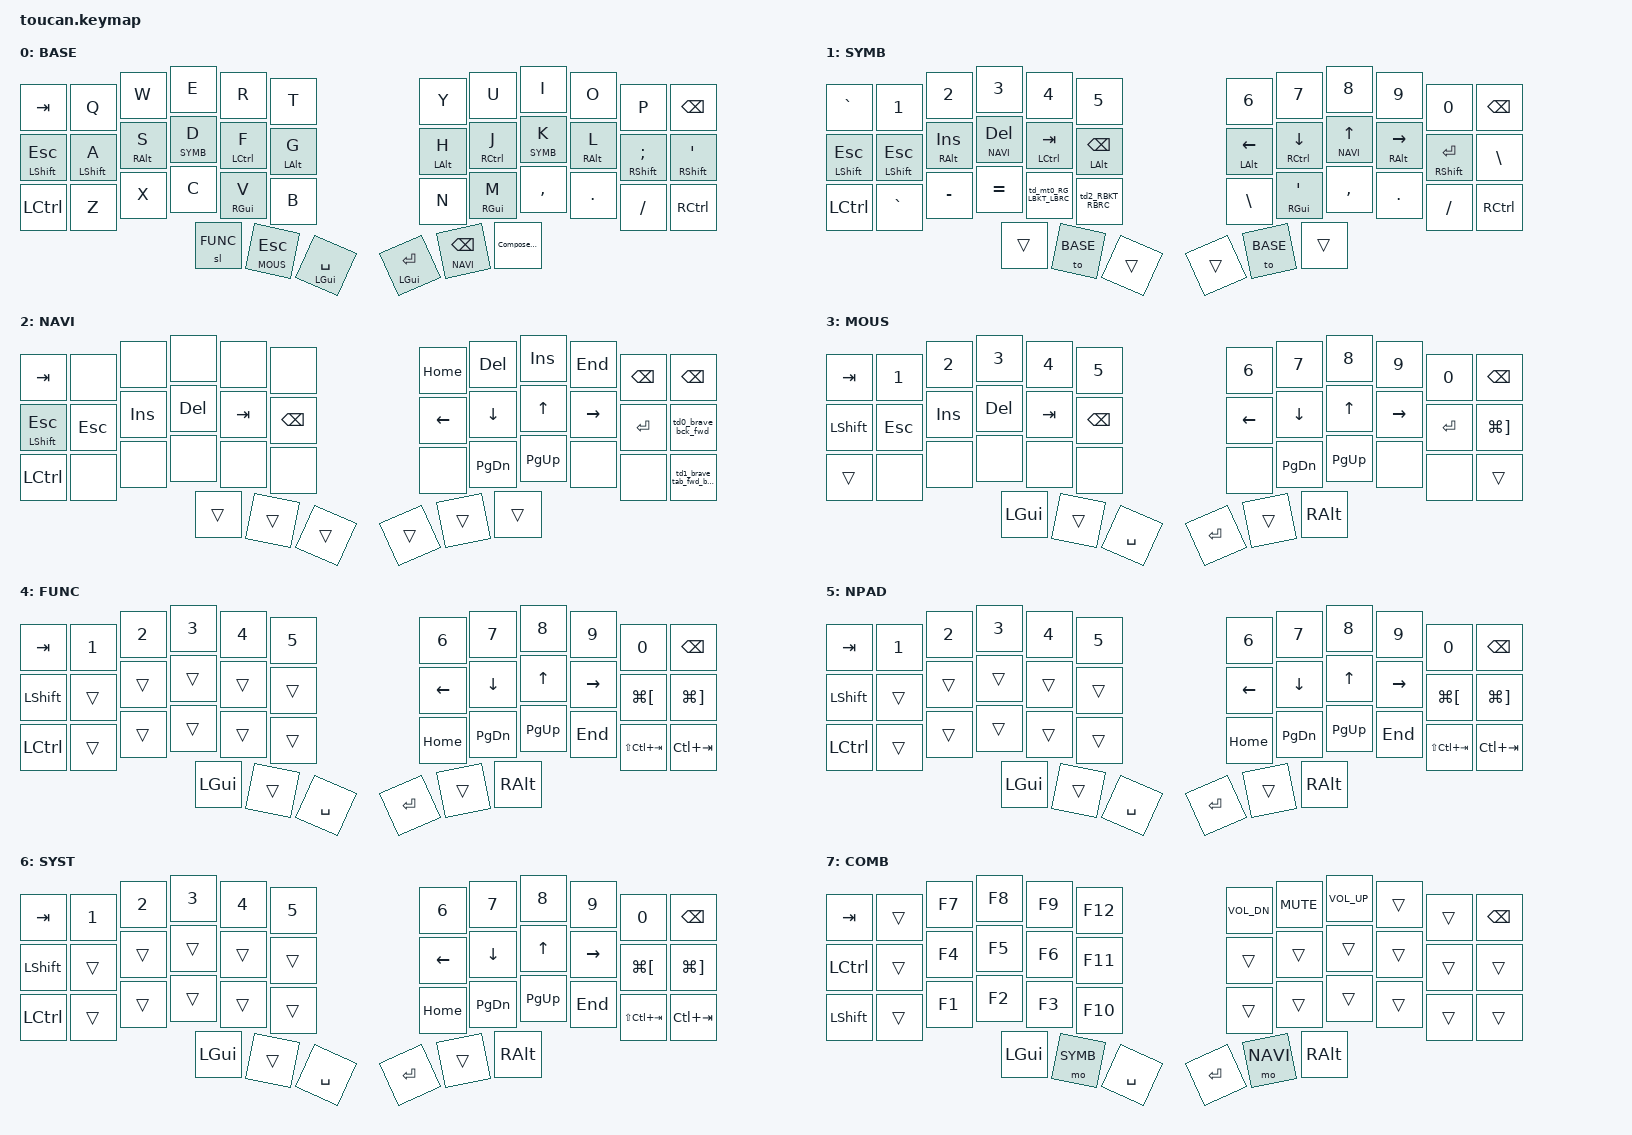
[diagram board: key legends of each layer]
#include <behaviors.dtsi>
#include <dt-bindings/zmk/keys.h>
#include <dt-bindings/zmk/bt.h>
#include <dt-bindings/zmk/outputs.h>

// To override the default movement or scrolling max velocities 
#define ZMK_POINTING_DEFAULT_MOVE_VAL 800  // default: 600
#define ZMK_POINTING_DEFAULT_SCRL_VAL 20    // default: 10
#include <dt-bindings/zmk/pointing.h>

// Autoshift Macro
#define AS(keycode) &as LS(keycode) keycode     
// Macro to apply momentary-layer-on-hold/toggle-layer-on-tap to a specific layer
#define MO_TOG(layer) &mo_tog layer layer   

#define KEYS_L 0 1 2 3 4 5  12 13 14 15 16 17  24 25 26 27 28 29  36 37 38 // left hand
#define KEYS_R 6 7 8 9 10 11  18 19 20 21 22 23  30 31 32 33 34 35  39 40 41 // right hand
#define BASE   0
#define SYMB   1
#define NAVI   2
#define MOUS   3
#define FUNC   4
#define NPAD   5
#define SYST   6
// #define COMB   7

// https://v0-3-branch.zmk.dev/docs/keymaps/behaviors/mod-morph#mods
// https://v0-3-branch.zmk.dev/docs/keymaps/modifiers
// LS(x), LC(x), LA(x), LG(x), RS(x), RC(x), RA(x), RG(x)

/ {
    // https://v0-3-branch.zmk.dev/docs/keymaps/behaviors#layer-navigation-behaviors
    behaviors {

        hml: hml {
            compatible = "zmk,behavior-hold-tap";
            #binding-cells = <2>;
            flavor = "balanced";
            require-prior-idle-ms = <150>;
            tapping-term-ms = <280>;
            quick-tap-ms = <175>;
            bindings = <&kp>, <&kp>;
            hold-trigger-key-positions = <KEYS_R>; // List of keys on the right side of the keyboard
            hold-trigger-on-release;
        };
        hmr: hmr {
            compatible = "zmk,behavior-hold-tap";
            #binding-cells = <2>;
            flavor = "balanced";
            require-prior-idle-ms = <150>;
            tapping-term-ms = <280>;
            quick-tap-ms = <175>;
            bindings = <&kp>, <&kp>;
            hold-trigger-key-positions = <KEYS_L>; // List of keys on the left side of the keyboard
            hold-trigger-on-release;
        };
        hml2: hml2 {
            compatible = "zmk,behavior-hold-tap";
            #binding-cells = <2>;
            flavor = "balanced";
            require-prior-idle-ms = <150>;
            tapping-term-ms = <280>;
            quick-tap-ms = <175>;
            bindings = <&mo>, <&kp>;
            hold-trigger-key-positions = <KEYS_R>;
            hold-trigger-on-release;
        };
        hmr2: hmr2 {
            compatible = "zmk,behavior-hold-tap";
            #binding-cells = <2>;
            flavor = "balanced";
            require-prior-idle-ms = <150>;
            tapping-term-ms = <500>;
            quick-tap-ms = <175>;
            bindings = <&mo>, <&kp>;
            hold-trigger-key-positions = <KEYS_L>;
            hold-trigger-on-release;
        };

        Compose1ToNpad: Compose1ToNpad {
            compatible = "zmk,behavior-tap-dance";
            label = "Compose1ToNpad";
            #binding-cells = <0>;
            bindings = <&kp K_APP>, <&tog NAVI>;
            tapping-term-ms = <230>;
        };
        
        // https://v0-3-branch.zmk.dev/docs/keymaps/behaviors/hold-tap?examples=mlt#require-prior-idle-ms
        rpi: require_prior_idle {
            compatible = "zmk,behavior-hold-tap";
            #binding-cells = <2>;
            flavor = "tap-preferred";
            tapping-term-ms = <200>;
            quick-tap-ms = <200>;
            require-prior-idle-ms = <125>;
            bindings = <&kp>, <&kp>;
        };

        // https://v0-3-branch.zmk.dev/docs/keymaps/behaviors/hold-tap?examples=home_row_mods#positional-hold-tap-and-hold-trigger-key-positions
        pht: positional_hold_tap {
            compatible = "zmk,behavior-hold-tap";
            #binding-cells = <2>;
            flavor = "hold-preferred";
            tapping-term-ms = <400>;
            quick-tap-ms = <200>;
            bindings = <&kp>, <&kp>;
            hold-trigger-key-positions = <1>;    // <---[[the Q key]]
        };

        // Flavors: "hold-preferred", "balanced", "tap-preferred" and "tap-unless-interrupted"
        my_mt: my_mt {
            compatible = "zmk,behavior-hold-tap";
            #binding-cells = <2>;
            flavor = "tap-preferred";
            tapping-term-ms = <200>;
            bindings = <&kp>, <&kp>;
            display-name = "Mod-Tap";
        };
        my_lt: my_lt {
            compatible = "zmk,behavior-hold-tap";
            #binding-cells = <2>;
            flavor = "tap-preferred";
            tapping-term-ms = <200>;
            bindings = <&mo>, <&kp>;
            display-name = "Layer-Tap";
        };

        as: auto_shift {
            compatible = "zmk,behavior-hold-tap";
            #binding-cells = <2>;
            tapping-term-ms = <135>;
            quick-tap-ms = <0>;
            flavor = "tap-preferred";
            bindings = <&kp>, <&kp>;
        };
        // Autoshift applied for QWERTY keys
        // AS(Q) AS(W) AS(E) AS(R) AS(T) AS(Y) 

        mo_tog: behavior_mo_tog {
            compatible = "zmk,behavior-hold-tap";
            #binding-cells = <2>;
            flavor = "hold-preferred";
            tapping-term-ms = <200>;
            bindings = <&mo>, <&tog>;
        };
        // &mo_tog 2 1     // &mo 2 on hold, &tog 1 on tap
        // MO_TOG(3)       // &mo 3 on hold, &tog 3 on tap
        // &mo_tog 4 3     // &mo 4 on hold, &tog 3 on tap

        // https://v0-3-branch.zmk.dev/docs/keymaps/behaviors/tap-dance?examples=advanced#summary
        td0: td0_brave_bck_fwd {
            compatible = "zmk,behavior-tap-dance";
            #binding-cells = <0>;
            tapping-term-ms = <200>;
            bindings = <&kp LG(LBKT)>, <&kp RG(RBKT)>;
        };

        td1: td1_brave_tab_fwd_bck {
            compatible = "zmk,behavior-tap-dance";
            #binding-cells = <0>;
            tapping-term-ms = <200>;
            bindings = <&kp LS(LC(TAB))>, <&kp LC(TAB)>;
        };
        // Outputs RBKT ] on a single tab, RBRC } when the tap-dance is pressed twice.
        td2: td2_RBKT_RBRC {
            compatible = "zmk,behavior-tap-dance";
            #binding-cells = <0>;
            tapping-term-ms = <200>;
            bindings = <&kp RBKT>, <&kp RBRC>;
        };

        // https://v0-3-branch.zmk.dev/docs/keymaps/behaviors/tap-dance?examples=advanced#example-usage
        // Outputs LBKT [ on a single tap, RG on a single press and hold, and LBRC { when the tap-dance is pressed twice. 
        td_mt0: td_mt0_RG_LBKT_LBRC {
            compatible = "zmk,behavior-tap-dance";
            #binding-cells = <0>;
            tapping-term-ms = <200>;
            bindings = <&mt RGUI LBKT>, <&kp LBRC>;
        };
        
        // https://v0-3-branch.zmk.dev/docs/keymaps/behaviors/mod-morph#advanced-configuration
        bspc_del: backspace_delete {
            compatible = "zmk,behavior-mod-morph";
            #binding-cells = <0>;
            bindings = <&kp BACKSPACE>, <&kp DELETE>;
            mods = <(MOD_LSFT|MOD_RSFT)>;
            keep-mods = <(MOD_RSFT)>;
        };

        // https://v0-3-branch.zmk.dev/docs/keymaps/behaviors/layers#configuration
        kt_on: key_toggle_on_only {
            compatible = "zmk,behavior-key-toggle";
            #binding-cells = <1>;
            display-name = "Key Toggle On";
            toggle-mode = "on";
        };

        kt_off: key_toggle_off_only {
            compatible = "zmk,behavior-key-toggle";
            #binding-cells = <1>;
            display-name = "Key Toggle Off";
            toggle-mode = "off";
        };

        tl_on: toggle_layer_on_only {
            compatible = "zmk,behavior-toggle-layer";
            #binding-cells = <1>;
            display-name = "Toggle Layer On";
            toggle-mode = "on";
        };

        tl_off: toggle_layer_off_only {
            compatible = "zmk,behavior-toggle-layer";
            #binding-cells = <1>;
            display-name = "Toggle Layer Off";
            toggle-mode = "off";
        };

        // https://v0-3-branch.zmk.dev/docs/keymaps/behaviors/sticky-layer
        // https://v0-3-branch.zmk.dev/docs/keymaps/behaviors/sticky-key
        skq: skq {
            compatible = "zmk,behavior-sticky-key";
            #binding-cells = <1>;
            bindings = <&kp>;
            release-after-ms = <1000>;
            quick-release;
            ignore-modifiers;
        };

        // https://v0-3-branch.zmk.dev/docs/keymaps/behaviors/mouse-emulation
        // Mouse Button Press &mkp
        // MB1, LCLK	Left click
        // MB2, RCLK	Right click
        // MB3, MCLK	Middle click
        // MB4	        Mouse button 4
        // MB5	        Mouse button 5
        // Mouse Move &mmv
        // MOVE_UP	    Move up
        // MOVE_DOWN	Move down
        // MOVE_LEFT	Move left
        // MOVE_RIGHT	Move right
        // Mouse Scroll &msc
        // SCRL_UP	    Scroll up
        // SCRL_DOWN	Scroll down
        // SCRL_LEFT	Scroll left
        // SCRL_RIGHT	Scroll right

        // &mkp_input_listener {
        //    input-processors = <&zip_temp_layer 2 2000>;
        // }
        // &mmv_input_listener {
        //     input-processors = <&zip_temp_layer 2 2000>;
        // }
        // &msc_input_listener {
        //    input-processors = <&zip_temp_layer 2 2000>;
        // }

        // Windows specific 
        // hrm_w: hrm_w {
        //     compatible = "zmk,behavior-hold-tap";
        //     #binding-cells = <2>;
        //     tapping-term-ms = <200>;
        //     bindings = <&kp>, <&kp>;
        //     flavor = "tap-preferred";
        //     quick-tap-ms = <200>;
        //     require-prior-idle-ms = <0>;
        //     retro-tap;
        // };

        // my_mtw: my_mtw {
        //     compatible = "zmk,behavior-hold-tap";
        //     #binding-cells = <2>;
        //     flavor = "tap-preferred";
        //     tapping-term-ms = <200>;
        //     bindings = <&kp>, <&kp>;
        // };
    };
    
    combos {
        compatible = "zmk,combos";
        // https://v0-3-branch.zmk.dev/docs/keymaps/combos
        combo_esc {
            timeout-ms = <50>;
            key-positions = <1 2>;
            // layers = <0 1...> 
            bindings = <&kp ESC>;
            // slow-release 
            // require-prior-idle-ms 
        };

        combo_caps1 {
            timeout-ms = <100>;
            key-positions = <36 41>; // Combo `fn + compose`
            bindings = <&kp CAPS>;
        };

        combo_caps2 {
            timeout-ms = <100>;
            key-positions = <12 23>; // Combo `left-shift+right-shift`
            bindings = <&kp CAPS>;
        };

        combo_symbol {
            timeout-ms = <100>;
            key-positions = <37 40>; // Combo `thumb ESC + thumb Backspace`
            bindings = <&tog SYMB>;
        };

        combo_sys_left {
            timeout-ms = <100>;
            key-positions = <28 38>; // Combo `v+space`
            bindings = <&mo SYST>;
        };

        combo_sys_right {
            timeout-ms = <100>;
            key-positions = <31 39>; // Combo `m+enter`
            bindings = <&mo SYST>;
        };
    };
};

/ {
    keymap {
        compatible = "zmk,keymap";

        base {
            display-name = "BASE";
            bindings = <
//    ┌───────────────┬─────────────┬─────────────┬──────────────┬─────────────┬─────────────────┐                                   ┌─────────────────┬─────────────────┬──────────────┬─────────────┬─────────────┬─────────────┐
//    │      tab      │      Q      │      W      │      E       │      R      │        T        │                                   │        Y        │        U        │      I       │      O      │      P      │    bspc     │
//    ├───────────────┼─────────────┼─────────────┼──────────────┼─────────────┼─────────────────┤                                   ├─────────────────┼─────────────────┼──────────────┼─────────────┼─────────────┼─────────────┤
//    │ &hml lsft esc │ &hml lsft A │ &hml ralt S │ &hml2 SYMB D │ &hml lctl F │   &hml lalt G   │                                   │   &hmr lalt H   │   &hmr rctl J   │ &hmr2 SYMB K │ &hmr ralt L │ &hmr rsft ; │ &hmr rsft ' │
//    ├───────────────┼─────────────┼─────────────┼──────────────┼─────────────┼─────────────────┤                                   ├─────────────────┼─────────────────┼──────────────┼─────────────┼─────────────┼─────────────┤
//    │     lctl      │      Z      │      X      │      C       │ &hml rgui V │        B        │                                   │        N        │   &hmr rgui M   │      ,       │      .      │      /      │    rctl     │
//    └───────────────┴─────────────┴─────────────┴──────────────┼─────────────┼─────────────────┼───────────────┐   ┌───────────────┼─────────────────┼─────────────────┼──────────────┴─────────────┴─────────────┴─────────────┘
//                                                               │   sl FUNC   │ &my_lt MOUS esc │ &hml lgui spc │   │ &hmr lgui ent │ &hmr2 NAVI bspc │ &Compose1ToNpad │
//                                                               └─────────────┴─────────────────┴───────────────┘   └───────────────┴─────────────────┴─────────────────┘
  &kp TAB          &kp Q          &kp W         &kp E          &kp R          &kp T                                                   &kp Y             &kp U             &kp I          &kp O         &kp P             &kp BSPC
  &hml LSHFT ESC   &hml LSHFT A   &hml RALT S   &hml2 SYMB D   &hml LCTRL F   &hml LALT G                                             &hmr LALT H       &hmr RCTRL J      &hmr2 SYMB K   &hmr RALT L   &hmr RSHFT SEMI   &hmr RSHFT SQT
  &kp LCTRL        &kp Z          &kp X         &kp C          &hml RGUI V    &kp B                                                   &kp N             &hmr RGUI M       &kp COMMA      &kp DOT       &kp FSLH          &kp RCTRL
                                                               &sl FUNC       &my_lt MOUS ESC   &hml LGUI SPACE       &hmr LGUI RET   &hmr2 NAVI BSPC   &Compose1ToNpad
            >;
        };

        symb {
            display-name = "SYMB";
            bindings = <
//    ┌───────────────┬───────────────┬───────────────┬────────────────┬──────────────────┬────────────────┐               ┌────────────────┬────────────────┬───────────────┬────────────────┬───────────────┬──────┐
//    │       `       │       1       │       2       │       3        │        4         │       5        │               │       6        │       7        │       8       │       9        │       0       │ bspc │
//    ├───────────────┼───────────────┼───────────────┼────────────────┼──────────────────┼────────────────┤               ├────────────────┼────────────────┼───────────────┼────────────────┼───────────────┼──────┤
//    │ &hml lsft esc │ &hml lsft esc │ &hml ralt ins │ &hml2 NAVI del │  &hml lctl tab   │ &hml lalt bspc │               │ &hmr lalt left │ &hmr rctl down │ &hmr2 NAVI up │ &hmr ralt rght │ &hmr rsft ent │  \   │
//    ├───────────────┼───────────────┼───────────────┼────────────────┼──────────────────┼────────────────┤               ├────────────────┼────────────────┼───────────────┼────────────────┼───────────────┼──────┤
//    │     lctl      │       `       │       -       │       =        │ &td_mt0_rgui_[_{ │    &td2_]_}    │               │       \        │  &hmr rgui '   │       ,       │       .        │       /       │ rctl │
//    └───────────────┴───────────────┴───────────────┴────────────────┼──────────────────┼────────────────┼─────┐   ┌─────┼────────────────┼────────────────┼───────────────┴────────────────┴───────────────┴──────┘
//                                                                     │                  │    to BASE     │     │   │     │    to BASE     │                │
//                                                                     └──────────────────┴────────────────┴─────┘   └─────┴────────────────┴────────────────┘
  &kp GRAVE        &kp N1           &kp N2          &kp N3           &kp N4                 &kp N5                                 &kp N6           &kp N7            &kp N8          &kp N9            &kp N0           &kp BSPC
  &hml LSHFT ESC   &hml LSHFT ESC   &hml RALT INS   &hml2 NAVI DEL   &hml LCTRL TAB         &hml LALT BSPC                         &hmr LALT LEFT   &hmr RCTRL DOWN   &hmr2 NAVI UP   &hmr RALT RIGHT   &hmr RSHFT RET   &kp BSLH
  &kp LCTRL        &kp GRAVE        &kp MINUS       &kp EQUAL        &td_mt0_RG_LBKT_LBRC   &td2_RBKT_RBRC                         &kp BSLH         &hmr RGUI SQT     &kp COMMA       &kp PERIOD        &kp FSLH         &kp RCTRL
                                                                     &trans                 &to BASE         &trans       &trans   &to BASE         &trans
            >;
        };

        navi {
            display-name = "NAVI";
            bindings = <
//    ┌───────────────┬─────┬─────┬─────┬─────┬──────┐               ┌──────┬──────┬──────┬──────┬──────┬────────────────────────┐
//    │      tab      │     │     │     │     │      │               │ home │ del  │ ins  │ end  │ bspc │          bspc          │
//    ├───────────────┼─────┼─────┼─────┼─────┼──────┤               ├──────┼──────┼──────┼──────┼──────┼────────────────────────┤
//    │ &hml lsft esc │ esc │ ins │ del │ tab │ bspc │               │ left │ down │  up  │ rght │ ent  │   &td0_brave_bck_fwd   │
//    ├───────────────┼─────┼─────┼─────┼─────┼──────┤               ├──────┼──────┼──────┼──────┼──────┼────────────────────────┤
//    │     lctl      │     │     │     │     │      │               │      │ pgdn │ pgup │      │      │ &td1_brave_tab_fwd_bck │
//    └───────────────┴─────┴─────┴─────┼─────┼──────┼─────┐   ┌─────┼──────┼──────┼──────┴──────┴──────┴────────────────────────┘
//                                      │     │      │     │   │     │      │      │
//                                      └─────┴──────┴─────┘   └─────┴──────┴──────┘
  &kp TAB          &none     &none     &none     &none     &none                            &kp HOME   &kp DEL     &kp INS     &kp END     &kp BSPC   &kp BSPC
  &hml LSHFT ESC   &kp ESC   &kp INS   &kp DEL   &kp TAB   &kp BSPC                         &kp LEFT   &kp DOWN    &kp UP      &kp RIGHT   &kp RET    &td0_brave_bck_fwd
  &kp LCTRL        &none     &none     &none     &none     &none                            &none      &kp PG_DN   &kp PG_UP   &none       &none      &td1_brave_tab_fwd_bck
                                                 &trans    &trans     &trans       &trans   &trans     &trans
            >;
        };

        mous {
            display-name = "MOUS";
            bindings = <
//    ┌──────┬─────┬─────┬─────┬──────┬──────┐               ┌──────┬──────┬──────┬──────┬─────┬─────────┐
//    │ tab  │  1  │  2  │  3  │  4   │  5   │               │  6   │  7   │  8   │  9   │  0  │  bspc   │
//    ├──────┼─────┼─────┼─────┼──────┼──────┤               ├──────┼──────┼──────┼──────┼─────┼─────────┤
//    │ lsft │ esc │ ins │ del │ tab  │ bspc │               │ left │ down │  up  │ rght │ ent │ lgui(]) │
//    ├──────┼─────┼─────┼─────┼──────┼──────┤               ├──────┼──────┼──────┼──────┼─────┼─────────┤
//    │      │     │     │     │      │      │               │      │ pgdn │ pgup │      │     │         │
//    └──────┴─────┴─────┴─────┼──────┼──────┼─────┐   ┌─────┼──────┼──────┼──────┴──────┴─────┴─────────┘
//                             │ lgui │      │ spc │   │ ent │      │ ralt │
//                             └──────┴──────┴─────┘   └─────┴──────┴──────┘
  &kp TAB     &kp N1       &kp N2    &kp N3    &kp N4     &kp N5                                    &kp N6     &kp N7          &kp N8      &kp N9      &kp N0      &kp BSPC
  &kp LSHFT   &kp ESCAPE   &kp INS   &kp DEL   &kp TAB    &kp BACKSPACE                             &kp LEFT   &kp DOWN        &kp UP      &kp RIGHT   &kp ENTER   &kp LG(RBKT)
  &trans      &none        &none     &none     &none      &none                                     &none      &kp PAGE_DOWN   &kp PG_UP   &none       &none       &trans
                                               &kp LGUI   &trans          &kp SPACE       &kp RET   &trans     &kp RALT
            >;
        };

        func {
            display-name = "FUNC";
            bindings = <
//    ┌──────┬─────┬─────┬─────┬──────┬─────┐               ┌──────┬──────┬──────┬──────┬─────────────────┬───────────┐
//    │ tab  │  1  │  2  │  3  │  4   │  5  │               │  6   │  7   │  8   │  9   │        0        │   bspc    │
//    ├──────┼─────┼─────┼─────┼──────┼─────┤               ├──────┼──────┼──────┼──────┼─────────────────┼───────────┤
//    │ lsft │     │     │     │      │     │               │ left │ down │  up  │ rght │     lgui([)     │  lgui(])  │
//    ├──────┼─────┼─────┼─────┼──────┼─────┤               ├──────┼──────┼──────┼──────┼─────────────────┼───────────┤
//    │ lctl │     │     │     │      │     │               │ home │ pgdn │ pgup │ end  │ lsft(lctl(tab)) │ lctl(tab) │
//    └──────┴─────┴─────┴─────┼──────┼─────┼─────┐   ┌─────┼──────┼──────┼──────┴──────┴─────────────────┴───────────┘
//                             │ lgui │     │ spc │   │ ent │      │ ralt │
//                             └──────┴─────┴─────┘   └─────┴──────┴──────┘
  &kp TAB     &kp N1   &kp N2   &kp N3   &kp N4     &kp N5                             &kp N6     &kp N7      &kp N8      &kp N9      &kp N0            &kp BSPC
  &kp LSHFT   &trans   &trans   &trans   &trans     &trans                             &kp LEFT   &kp DOWN    &kp UP      &kp RIGHT   &kp LG(LBKT)      &kp LG(RBKT)
  &kp LCTRL   &trans   &trans   &trans   &trans     &trans                             &kp HOME   &kp PG_DN   &kp PG_UP   &kp END     &kp LS(LC(TAB))   &kp LC(TAB)
                                         &kp LGUI   &trans   &kp SPACE       &kp RET   &trans     &kp RALT
            >;
        };

        npad {
            display-name = "NPAD";
            bindings = <
//    ┌──────┬─────┬─────┬─────┬──────┬─────┐               ┌──────┬──────┬──────┬──────┬─────────────────┬───────────┐
//    │ tab  │  1  │  2  │  3  │  4   │  5  │               │  6   │  7   │  8   │  9   │        0        │   bspc    │
//    ├──────┼─────┼─────┼─────┼──────┼─────┤               ├──────┼──────┼──────┼──────┼─────────────────┼───────────┤
//    │ lsft │     │     │     │      │     │               │ left │ down │  up  │ rght │     lgui([)     │  lgui(])  │
//    ├──────┼─────┼─────┼─────┼──────┼─────┤               ├──────┼──────┼──────┼──────┼─────────────────┼───────────┤
//    │ lctl │     │     │     │      │     │               │ home │ pgdn │ pgup │ end  │ lsft(lctl(tab)) │ lctl(tab) │
//    └──────┴─────┴─────┴─────┼──────┼─────┼─────┐   ┌─────┼──────┼──────┼──────┴──────┴─────────────────┴───────────┘
//                             │ lgui │     │ spc │   │ ent │      │ ralt │
//                             └──────┴─────┴─────┘   └─────┴──────┴──────┘
  &kp TAB     &kp N1   &kp N2   &kp N3   &kp N4     &kp N5                             &kp N6     &kp N7      &kp N8      &kp N9      &kp N0            &kp BSPC
  &kp LSHFT   &trans   &trans   &trans   &trans     &trans                             &kp LEFT   &kp DOWN    &kp UP      &kp RIGHT   &kp LG(LBKT)      &kp LG(RBKT)
  &kp LCTRL   &trans   &trans   &trans   &trans     &trans                             &kp HOME   &kp PG_DN   &kp PG_UP   &kp END     &kp LS(LC(TAB))   &kp LC(TAB)
                                         &kp LGUI   &trans   &kp SPACE       &kp RET   &trans     &kp RALT
            >;
        };

        syst {
            display-name = "SYST";
            bindings = <
//    ┌──────┬─────┬─────┬─────┬──────┬─────┐               ┌──────┬──────┬──────┬──────┬─────────────────┬───────────┐
//    │ tab  │  1  │  2  │  3  │  4   │  5  │               │  6   │  7   │  8   │  9   │        0        │   bspc    │
//    ├──────┼─────┼─────┼─────┼──────┼─────┤               ├──────┼──────┼──────┼──────┼─────────────────┼───────────┤
//    │ lsft │     │     │     │      │     │               │ left │ down │  up  │ rght │     lgui([)     │  lgui(])  │
//    ├──────┼─────┼─────┼─────┼──────┼─────┤               ├──────┼──────┼──────┼──────┼─────────────────┼───────────┤
//    │ lctl │     │     │     │      │     │               │ home │ pgdn │ pgup │ end  │ lsft(lctl(tab)) │ lctl(tab) │
//    └──────┴─────┴─────┴─────┼──────┼─────┼─────┐   ┌─────┼──────┼──────┼──────┴──────┴─────────────────┴───────────┘
//                             │ lgui │     │ spc │   │ ent │      │ ralt │
//                             └──────┴─────┴─────┘   └─────┴──────┴──────┘
  &kp TAB     &kp N1   &kp N2   &kp N3   &kp N4     &kp N5                             &kp N6     &kp N7      &kp N8      &kp N9      &kp N0            &kp BSPC
  &kp LSHFT   &trans   &trans   &trans   &trans     &trans                             &kp LEFT   &kp DOWN    &kp UP      &kp RIGHT   &kp LG(LBKT)      &kp LG(RBKT)
  &kp LCTRL   &trans   &trans   &trans   &trans     &trans                             &kp HOME   &kp PG_DN   &kp PG_UP   &kp END     &kp LS(LC(TAB))   &kp LC(TAB)
                                         &kp LGUI   &trans   &kp SPACE       &kp RET   &trans     &kp RALT
            >;
        };

        comb {
            display-name = "COMB";
            bindings = <
//    ┌──────┬─────┬────┬────┬──────┬─────────┐               ┌─────────┬──────┬──────┬─────┬─────┬──────┐
//    │ tab  │     │ f7 │ f8 │  f9  │   f12   │               │  vold   │ mute │ volu │     │     │ bspc │
//    ├──────┼─────┼────┼────┼──────┼─────────┤               ├─────────┼──────┼──────┼─────┼─────┼──────┤
//    │ lctl │     │ f4 │ f5 │  f6  │   f11   │               │         │      │      │     │     │      │
//    ├──────┼─────┼────┼────┼──────┼─────────┤               ├─────────┼──────┼──────┼─────┼─────┼──────┤
//    │ lsft │     │ f1 │ f2 │  f3  │   f10   │               │         │      │      │     │     │      │
//    └──────┴─────┴────┴────┼──────┼─────────┼─────┐   ┌─────┼─────────┼──────┼──────┴─────┴─────┴──────┘
//                           │ lgui │ mo SYMB │ spc │   │ ent │ mo NAVI │ ralt │
//                           └──────┴─────────┴─────┘   └─────┴─────────┴──────┘
  &kp TAB     &trans   &kp F7   &kp F8   &kp F9     &kp F12                              &kp C_VOL_DN   &kp C_MUTE   &kp C_VOL_UP   &trans   &trans   &kp BSPC
  &kp LCTRL   &trans   &kp F4   &kp F5   &kp F6     &kp F11                              &trans         &trans       &trans         &trans   &trans   &trans
  &kp LSHFT   &trans   &kp F1   &kp F2   &kp F3     &kp F10                              &trans         &trans       &trans         &trans   &trans   &trans
                                         &kp LGUI   &mo SYMB   &kp SPACE       &kp RET   &mo NAVI       &kp RALT
            >;
        };

        extra_1 {
                status = "reserved";
        };

        extra_2 {
                status = "reserved";
        };

        extra_3 {
                status = "reserved";
        };
    };
};
